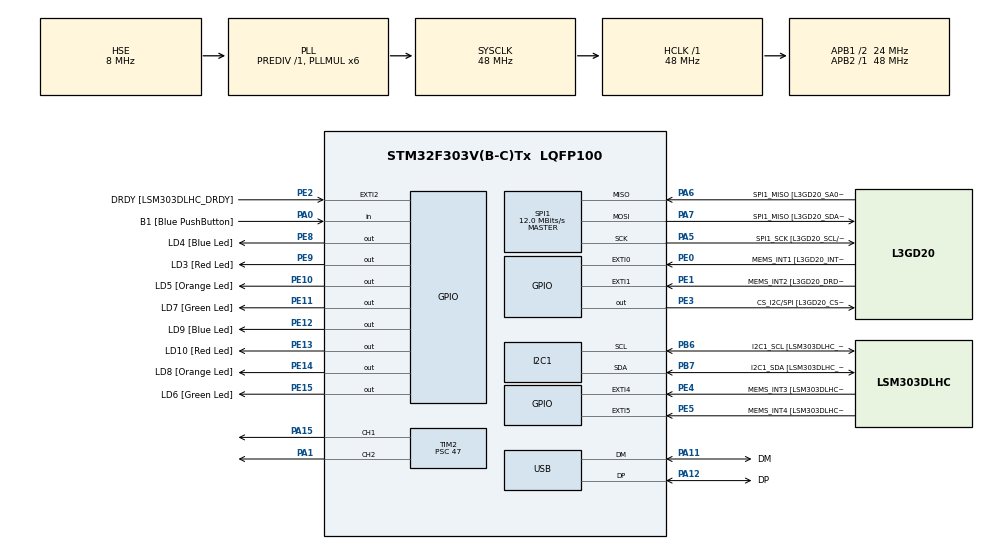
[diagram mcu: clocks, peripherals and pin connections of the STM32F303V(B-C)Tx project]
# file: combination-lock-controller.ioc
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I2C1.Timing=0x2000090E
I2C1.Timing-I2C=0x2000090E
Mcu.Family=STM32F3
Mcu.Name=STM32F303V(B-C)Tx
Mcu.Package=LQFP100
NVIC.PriorityGroup=NVIC_PRIORITYGROUP_0
PA0.GPIO_Label=B1 [Blue PushButton]
PA0.Signal=GPIO_Input
PA1.Signal=S_TIM2_CH2
PA11.GPIO_Label=DM
PA11.Mode=Device
PA11.Signal=USB_DM
PA12.GPIO_Label=DP
PA12.Mode=Device
PA12.Signal=USB_DP
PA13.GPIO_Label=SWDIO
PA13.Mode=Serial_Wire
PA13.Signal=SYS_JTMS-SWDIO
PA14.GPIO_Label=SWCLK
PA14.Mode=Serial_Wire
PA14.Signal=SYS_JTCK-SWCLK
PA15.Signal=S_TIM2_CH1_ETR
PA5.GPIO_Label=SPI1_SCK [L3GD20_SCL/SPC]
PA5.Mode=Full_Duplex_Master
PA5.Signal=SPI1_SCK
PA6.GPIO_Label=SPI1_MISO [L3GD20_SA0/SDO]
PA6.Mode=Full_Duplex_Master
PA6.Signal=SPI1_MISO
PA7.GPIO_Label=SPI1_MISO [L3GD20_SDA/SDI/SDO]
PA7.Mode=Full_Duplex_Master
PA7.Signal=SPI1_MOSI
PB3.GPIO_Label=SWO
PB3.Signal=SYS_JTDO-TRACESWO
PB6.GPIO_Label=I2C1_SCL [LSM303DLHC_SCL]
PB6.GPIO_Pu=GPIO_PULLUP
PB6.Mode=I2C
PB6.Signal=I2C1_SCL
PB7.GPIO_Label=I2C1_SDA [LSM303DLHC_SDA]
PB7.GPIO_Pu=GPIO_PULLUP
PB7.Mode=I2C
PB7.Signal=I2C1_SDA
PC14-OSC32_IN.GPIO_Label=OSC32_IN
PC14-OSC32_IN.Signal=RCC_OSC32_IN
PC15-OSC32_OUT.GPIO_Label=OSC32_OUT
PC15-OSC32_OUT.Signal=RCC_OSC32_OUT
PE0.GPIO_Label=MEMS_INT1 [L3GD20_INT1]
PE0.GPIO_ModeDefaultEXTI=GPIO_MODE_EVT_RISING
PE0.Signal=GPXTI0
PE1.GPIO_Label=MEMS_INT2 [L3GD20_DRDY/INT2]
PE1.GPIO_ModeDefaultEXTI=GPIO_MODE_EVT_RISING
PE1.Signal=GPXTI1
PE10.GPIO_Label=LD5 [Orange Led]
PE10.Signal=GPIO_Output
PE11.GPIO_Label=LD7 [Green Led]
PE11.Signal=GPIO_Output
PE12.GPIO_Label=LD9 [Blue Led]
PE12.Signal=GPIO_Output
PE13.GPIO_Label=LD10 [Red Led]
PE13.Signal=GPIO_Output
PE14.GPIO_Label=LD8 [Orange Led]
PE14.Signal=GPIO_Output
PE15.GPIO_Label=LD6 [Green Led]
PE15.Signal=GPIO_Output
PE2.GPIO_Label=DRDY [LSM303DLHC_DRDY]
PE2.GPIO_ModeDefaultEXTI=GPIO_MODE_EVT_RISING
PE2.Signal=GPXTI2
PE3.GPIO_Label=CS_I2C/SPI [L3GD20_CS_I2C/SPI]
PE3.Signal=GPIO_Output
PE4.GPIO_Label=MEMS_INT3 [LSM303DLHC_INT1]
PE4.GPIO_ModeDefaultEXTI=GPIO_MODE_EVT_RISING
PE4.Signal=GPXTI4
PE5.GPIO_Label=MEMS_INT4 [LSM303DLHC_INT2]
PE5.GPIO_ModeDefaultEXTI=GPIO_MODE_EVT_RISING
PE5.Signal=GPXTI5
PE8.GPIO_Label=LD4 [Blue Led]
PE8.Signal=GPIO_Output
PE9.GPIO_Label=LD3 [Red Led]
PE9.Signal=GPIO_Output
PF0-OSC_IN.GPIO_Label=OSC_IN
PF0-OSC_IN.Mode=HSE-External-Clock-Source
PF0-OSC_IN.Signal=RCC_OSC_IN
PF1-OSC_OUT.GPIO_Label=OSC_OUT
PF1-OSC_OUT.Signal=RCC_OSC_OUT
ProjectManager.HeapSize=0x200
ProjectManager.StackSize=0x400
ProjectManager.TargetToolchain=STM32CubeIDE
RCC.AHBFreq_Value=48000000
RCC.APB1CLKDivider=RCC_HCLK_DIV2
RCC.APB1Freq_Value=24000000
RCC.APB1TimFreq_Value=48000000
RCC.APB2Freq_Value=48000000
RCC.APB2TimFreq_Value=48000000
RCC.CortexFreq_Value=48000000
RCC.HCLKFreq_Value=48000000
RCC.HSE_VALUE=8000000
RCC.HSI_VALUE=8000000
RCC.LSE_VALUE=32768
RCC.PLLMUL=RCC_PLL_MUL6
RCC.SYSCLKFreq_VALUE=48000000
RCC.SYSCLKSourceVirtual=RCC_SYSCLKSOURCE_PLLCLK
RCC.USBFreq_Value=48000000
SH.S_TIM2_CH1_ETR.0=TIM2_CH1,PWM Generation1 CH1
SH.S_TIM2_CH2.0=TIM2_CH2,PWM Generation2 CH2
SPI1.BaudRatePrescaler=SPI_BAUDRATEPRESCALER_4
SPI1.BaudRatePrescaler-Full_Duplex_Master=SPI_BAUDRATEPRESCALER_2
SPI1.CalculateBaudRate=12.0 MBits/s
SPI1.CalculateBaudRate-Full_Duplex_Master=24.0 MBits/s
SPI1.Direction=SPI_DIRECTION_2LINES
SPI1.Mode=SPI_MODE_MASTER
SPI1.Mode-Full_Duplex_Master=SPI_MODE_MASTER
SPI1.VirtualType=VM_MASTER
TIM2.AutoReloadPreload=TIM_AUTORELOAD_PRELOAD_ENABLE
TIM2.Channel-PWM\ Generation1\ CH1=TIM_CHANNEL_1
TIM2.Channel-PWM\ Generation2\ CH2=TIM_CHANNEL_2
TIM2.Period=20000
TIM2.Prescaler=47
TIM2.Pulse-PWM\ Generation1\ CH1=2000
board=STM32F3DISCOVERY

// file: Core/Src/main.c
/* USER CODE BEGIN Header */
/**
  ******************************************************************************
  * @file           : main.c
  * @brief          : Main program body
  ******************************************************************************
  * @attention
  *
  * Copyright (c) 2023 STMicroelectronics.
  * All rights reserved.
  *
  * This software is licensed under terms that can be found in the LICENSE file
  * in the root directory of this software component.
  * If no LICENSE file comes with this software, it is provided AS-IS.
  *
  ******************************************************************************
  */
/* USER CODE END Header */
#include "main.h"

/* USER CODE BEGIN Includes */
#include <stdio.h>
#include <stdint.h>
#include <stdlib.h>
#include <math.h>

#include "stm32f303xc.h"
#include "led.h"
#include "serial.h"
#include "serialise.h"
#include "accelerometer.h"
#include "challenge_4.h"

/* USER CODE END Includes */

I2C_HandleTypeDef hi2c1;

SPI_HandleTypeDef hspi1;

TIM_HandleTypeDef htim2;

PCD_HandleTypeDef hpcd_USB_FS;

/* USER CODE BEGIN PV */

int current_game_state = 0;
char input_buffer[BUFFER] = {0};
int input_counter = 0;

/* USER CODE END PV */

void SystemClock_Config(void);
static void MX_GPIO_Init(void);
static void MX_I2C1_Init(void);
static void MX_SPI1_Init(void);
static void MX_USB_PCD_Init(void);
static void MX_TIM2_Init(void);
/* USER CODE BEGIN PFP */

void USART1_IRQHandler();

/* USER CODE END PFP */

int main(void)
{

  /* MCU Configuration--------------------------------------------------------*/

  /* Reset of all peripherals, Initializes the Flash interface and the Systick. */
  HAL_Init();

  /* USER CODE BEGIN Init */

	enable_clocks();
	initialise_board();
	SerialInitialise(BAUD_115200, &USART1_PORT, 0x00);
	enable_interrupts_RX();

  /* USER CODE END Init */

  /* Configure the system clock */
  SystemClock_Config();

  /* Initialize all configured peripherals */
  MX_GPIO_Init();
  MX_I2C1_Init();
  MX_SPI1_Init();
  MX_USB_PCD_Init();
  MX_TIM2_Init();
  /* USER CODE BEGIN 2 */

	stm_accel_init(&hi2c1);

//	char buffer[BUFFER_SIZE];

	int16_t zero_errors[] = {0, 0, 0};  // Zero errors in x, y, and z axes
	find_zero_errors(&hi2c1, zero_errors);

	int16_t accel_x, accel_y, accel_z;
	int8_t stm_pitch, stm_roll;
	int8_t ptu_vel_pitch, ptu_vel_yaw;

	enter_waiting();

  /* USER CODE END 2 */

  /* Infinite loop */

}

void SystemClock_Config(void)
{
  RCC_OscInitTypeDef RCC_OscInitStruct = {0};
  RCC_ClkInitTypeDef RCC_ClkInitStruct = {0};
  RCC_PeriphCLKInitTypeDef PeriphClkInit = {0};

  /** Initializes the RCC Oscillators according to the specified parameters
  * in the RCC_OscInitTypeDef structure.
  */
  RCC_OscInitStruct.OscillatorType = RCC_OSCILLATORTYPE_HSI|RCC_OSCILLATORTYPE_HSE;
  RCC_OscInitStruct.HSEState = RCC_HSE_BYPASS;
  RCC_OscInitStruct.HSEPredivValue = RCC_HSE_PREDIV_DIV1;
  RCC_OscInitStruct.HSIState = RCC_HSI_ON;
  RCC_OscInitStruct.HSICalibrationValue = RCC_HSICALIBRATION_DEFAULT;
  RCC_OscInitStruct.PLL.PLLState = RCC_PLL_ON;
  RCC_OscInitStruct.PLL.PLLSource = RCC_PLLSOURCE_HSE;
  RCC_OscInitStruct.PLL.PLLMUL = RCC_PLL_MUL6;
  if (HAL_RCC_OscConfig(&RCC_OscInitStruct) != HAL_OK)
  {
    Error_Handler();
  }

  /** Initializes the CPU, AHB and APB buses clocks
  */
  RCC_ClkInitStruct.ClockType = RCC_CLOCKTYPE_HCLK|RCC_CLOCKTYPE_SYSCLK
                              |RCC_CLOCKTYPE_PCLK1|RCC_CLOCKTYPE_PCLK2;
  RCC_ClkInitStruct.SYSCLKSource = RCC_SYSCLKSOURCE_PLLCLK;
  RCC_ClkInitStruct.AHBCLKDivider = RCC_SYSCLK_DIV1;
  RCC_ClkInitStruct.APB1CLKDivider = RCC_HCLK_DIV2;
  RCC_ClkInitStruct.APB2CLKDivider = RCC_HCLK_DIV1;

  if (HAL_RCC_ClockConfig(&RCC_ClkInitStruct, FLASH_LATENCY_1) != HAL_OK)
  {
    Error_Handler();
  }
  PeriphClkInit.PeriphClockSelection = RCC_PERIPHCLK_USB|RCC_PERIPHCLK_I2C1;
  PeriphClkInit.I2c1ClockSelection = RCC_I2C1CLKSOURCE_HSI;
  PeriphClkInit.USBClockSelection = RCC_USBCLKSOURCE_PLL;
  if (HAL_RCCEx_PeriphCLKConfig(&PeriphClkInit) != HAL_OK)
  {
    Error_Handler();
  }
}

static void MX_I2C1_Init(void)
{

  hi2c1.Instance = I2C1;
  hi2c1.Init.Timing = 0x2000090E;
  hi2c1.Init.OwnAddress1 = 0;
  hi2c1.Init.AddressingMode = I2C_ADDRESSINGMODE_7BIT;
  hi2c1.Init.DualAddressMode = I2C_DUALADDRESS_DISABLE;
  hi2c1.Init.OwnAddress2 = 0;
  hi2c1.Init.OwnAddress2Masks = I2C_OA2_NOMASK;
  hi2c1.Init.GeneralCallMode = I2C_GENERALCALL_DISABLE;
  hi2c1.Init.NoStretchMode = I2C_NOSTRETCH_DISABLE;
  if (HAL_I2C_Init(&hi2c1) != HAL_OK)
  {
    Error_Handler();
  }

  /** Configure Analogue filter
  */
  if (HAL_I2CEx_ConfigAnalogFilter(&hi2c1, I2C_ANALOGFILTER_ENABLE) != HAL_OK)
  {
    Error_Handler();
  }

  /** Configure Digital filter
  */
  if (HAL_I2CEx_ConfigDigitalFilter(&hi2c1, 0) != HAL_OK)
  {
    Error_Handler();
  }

}

static void MX_SPI1_Init(void)
{

  /* SPI1 parameter configuration*/
  hspi1.Instance = SPI1;
  hspi1.Init.Mode = SPI_MODE_MASTER;
  hspi1.Init.Direction = SPI_DIRECTION_2LINES;
  hspi1.Init.DataSize = SPI_DATASIZE_4BIT;
  hspi1.Init.CLKPolarity = SPI_POLARITY_LOW;
  hspi1.Init.CLKPhase = SPI_PHASE_1EDGE;
  hspi1.Init.NSS = SPI_NSS_SOFT;
  hspi1.Init.BaudRatePrescaler = SPI_BAUDRATEPRESCALER_4;
  hspi1.Init.FirstBit = SPI_FIRSTBIT_MSB;
  hspi1.Init.TIMode = SPI_TIMODE_DISABLE;
  hspi1.Init.CRCCalculation = SPI_CRCCALCULATION_DISABLE;
  hspi1.Init.CRCPolynomial = 7;
  hspi1.Init.CRCLength = SPI_CRC_LENGTH_DATASIZE;
  hspi1.Init.NSSPMode = SPI_NSS_PULSE_ENABLE;
  if (HAL_SPI_Init(&hspi1) != HAL_OK)
  {
    Error_Handler();
  }

}

static void MX_TIM2_Init(void)
{

  TIM_MasterConfigTypeDef sMasterConfig = {0};
  TIM_OC_InitTypeDef sConfigOC = {0};

  htim2.Instance = TIM2;
  htim2.Init.Prescaler = 47;
  htim2.Init.CounterMode = TIM_COUNTERMODE_UP;
  htim2.Init.Period = 20000;
  htim2.Init.ClockDivision = TIM_CLOCKDIVISION_DIV1;
  htim2.Init.AutoReloadPreload = TIM_AUTORELOAD_PRELOAD_ENABLE;
  if (HAL_TIM_PWM_Init(&htim2) != HAL_OK)
  {
    Error_Handler();
  }
  sMasterConfig.MasterOutputTrigger = TIM_TRGO_RESET;
  sMasterConfig.MasterSlaveMode = TIM_MASTERSLAVEMODE_DISABLE;
  if (HAL_TIMEx_MasterConfigSynchronization(&htim2, &sMasterConfig) != HAL_OK)
  {
    Error_Handler();
  }
  sConfigOC.OCMode = TIM_OCMODE_PWM1;
  sConfigOC.Pulse = 2000;
  sConfigOC.OCPolarity = TIM_OCPOLARITY_HIGH;
  sConfigOC.OCFastMode = TIM_OCFAST_DISABLE;
  if (HAL_TIM_PWM_ConfigChannel(&htim2, &sConfigOC, TIM_CHANNEL_1) != HAL_OK)
  {
    Error_Handler();
  }
  if (HAL_TIM_PWM_ConfigChannel(&htim2, &sConfigOC, TIM_CHANNEL_2) != HAL_OK)
  {
    Error_Handler();
  }
  HAL_TIM_MspPostInit(&htim2);

}

static void MX_USB_PCD_Init(void)
{

  hpcd_USB_FS.Instance = USB;
  hpcd_USB_FS.Init.dev_endpoints = 8;
  hpcd_USB_FS.Init.speed = PCD_SPEED_FULL;
  hpcd_USB_FS.Init.phy_itface = PCD_PHY_EMBEDDED;
  hpcd_USB_FS.Init.low_power_enable = DISABLE;
  hpcd_USB_FS.Init.battery_charging_enable = DISABLE;
  if (HAL_PCD_Init(&hpcd_USB_FS) != HAL_OK)
  {
    Error_Handler();
  }

}

static void MX_GPIO_Init(void)
{
  GPIO_InitTypeDef GPIO_InitStruct = {0};

  /* GPIO Ports Clock Enable */
  __HAL_RCC_GPIOE_CLK_ENABLE();
  __HAL_RCC_GPIOC_CLK_ENABLE();
  __HAL_RCC_GPIOF_CLK_ENABLE();
  __HAL_RCC_GPIOA_CLK_ENABLE();
  __HAL_RCC_GPIOB_CLK_ENABLE();

  /*Configure GPIO pin Output Level */
  HAL_GPIO_WritePin(GPIOE, CS_I2C_SPI_Pin|LD4_Pin|LD3_Pin|LD5_Pin
                          |LD7_Pin|LD9_Pin|LD10_Pin|LD8_Pin
                          |LD6_Pin, GPIO_PIN_RESET);

  /*Configure GPIO pins : DRDY_Pin MEMS_INT3_Pin MEMS_INT4_Pin MEMS_INT1_Pin
                           MEMS_INT2_Pin */
  GPIO_InitStruct.Pin = DRDY_Pin|MEMS_INT3_Pin|MEMS_INT4_Pin|MEMS_INT1_Pin
                          |MEMS_INT2_Pin;
  GPIO_InitStruct.Mode = GPIO_MODE_EVT_RISING;
  GPIO_InitStruct.Pull = GPIO_NOPULL;
  HAL_GPIO_Init(GPIOE, &GPIO_InitStruct);

  /*Configure GPIO pins : CS_I2C_SPI_Pin LD4_Pin LD3_Pin LD5_Pin
                           LD7_Pin LD9_Pin LD10_Pin LD8_Pin
                           LD6_Pin */
  GPIO_InitStruct.Pin = CS_I2C_SPI_Pin|LD4_Pin|LD3_Pin|LD5_Pin
                          |LD7_Pin|LD9_Pin|LD10_Pin|LD8_Pin
                          |LD6_Pin;
  GPIO_InitStruct.Mode = GPIO_MODE_OUTPUT_PP;
  GPIO_InitStruct.Pull = GPIO_NOPULL;
  GPIO_InitStruct.Speed = GPIO_SPEED_FREQ_LOW;
  HAL_GPIO_Init(GPIOE, &GPIO_InitStruct);

  /*Configure GPIO pin : B1_Pin */
  GPIO_InitStruct.Pin = B1_Pin;
  GPIO_InitStruct.Mode = GPIO_MODE_INPUT;
  GPIO_InitStruct.Pull = GPIO_NOPULL;
  HAL_GPIO_Init(B1_GPIO_Port, &GPIO_InitStruct);

}

/* USER CODE BEGIN 4 */
void USART1_IRQHandler()
{
	char single_inp;
	int test = 0;

	test = SerialReceiveChar(&USART1_PORT, &single_inp);
	if (test == 1){
		input_buffer[input_counter] = single_inp;
		input_counter ++;
//		set_led(0b0101);
		//SerialOutputChar(single_inp, &USART1_PORT);
	}
	if (single_inp == 33){ //check for end of string character
		if (strncmp(input_buffer, "AA55", 4) == 0){ //check for sentinal char
			if (input_buffer[4] == 49){ //if msgtype is 1
				char *data = malloc(4);
				strcpy(data, input_buffer + 5);
				data[2] = 0;

				//SerialOutputString(data, &USART1_PORT);
				empty_buffer(input_buffer, BUFFER);
				input_counter = 0;
				test = 0;
				single_inp = 0;

				state_handler(data, &current_game_state);

				return;
			}
		}
		else{
			//set_led(0b100010); //error
		}
		//SerialOutputString(input_buffer, &USART1_PORT);

		empty_buffer(input_buffer, BUFFER);
		input_counter = 0;
		test = 0;
		single_inp = 0;

	}

}

/* USER CODE END 4 */

void Error_Handler(void)
{
  __disable_irq();
  while (1)
  {
  }
}
